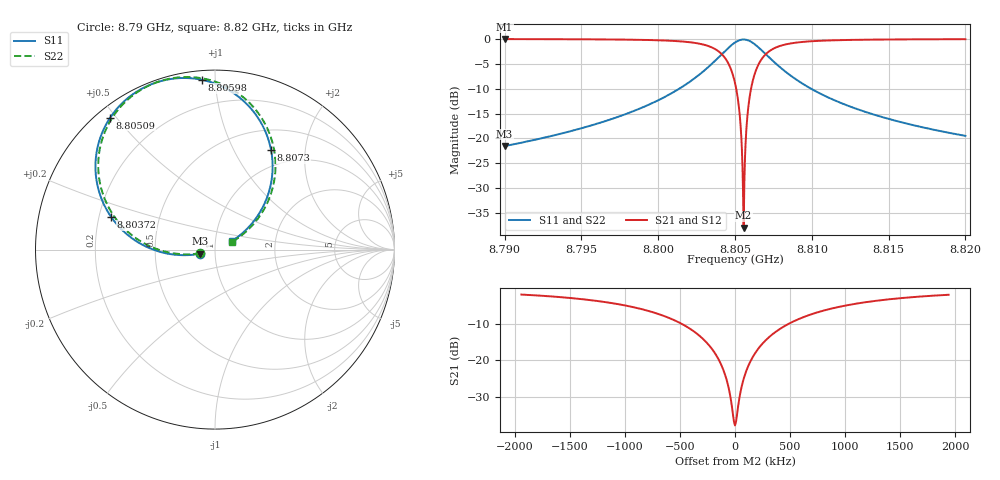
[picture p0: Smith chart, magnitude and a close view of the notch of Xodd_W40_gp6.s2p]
! Sonnet Data File
! From: emgraph Version : 16.52
! From Project: Qubit_Xmon2
! Data is De-embedded
! Data File Written: 10/18/2017 14:46:52
!< HDATE 10/18/2017 13:36:36
!< MDATE 10/18/2017 13:36:36
!< PARAMS
!< Lj = 11.0
!< Gap = 6.0
!< Pwid = 2000.0
!< Airgap = 24.0
!< Width = 40.0
!< END PARAMS
# GHZ S MA R 43.40000
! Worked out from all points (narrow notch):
!   3001 points, 8.79 GHz to 8.82 GHz, reference 43.4 ohm
!   highest |S21| = -0.03 dB at 8.79 GHz (marker M1); lowest = -37.9 dB at 8.80556 GHz (marker M2)
!   notch at M2: 37.8 dB deep, 324 kHz wide at half that depth
!   lowest |S11| = -21.5 dB at 8.79 GHz (marker M3), VSWR 1.18, Z = 36.9 - j1.66 ohm
!   |S11| at or under -10 dB: start of sweep to 8.80137 GHz; 8.809951 GHz to end of sweep
!   |S22| runs from -21.5 to -0.1 dB; largest |S21 - S12| = 0
!   S11 on the Smith chart (normalised r, x): 8.79 GHz: 0.85, -0.04; 8.80372 GHz: 0.25, +0.14; 8.80509 GHz: 0.04, +0.48; 8.80598 GHz: 0.05, +0.93; 8.8073 GHz: 0.77, +1.42; 8.82 GHz: 1.20, +0.12
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8.79  0.08385 -164.5  0.9964 -75.2  0.9964 -75.2  0.08385 -166.0
!< P1 F=8.79 Eeff=(4.81771806 -6.2668e-5) Z0=(43.3161425 -1.8142e-4) R=0.0 C=0.0
!< P2 F=8.79 Eeff=(4.81771806 -6.2668e-5) Z0=(43.3161425 -1.8142e-4) R=0.0 C=0.0
8.795  0.1267 -167.0  0.9917 -77.7  0.9917 -77.7  0.1267 -168.6
8.8  0.242 -173.8  0.9694 -84.5  0.9694 -84.5  0.242 -175.5
8.80239  0.4047 176.2  0.9121 -94.3  0.9121 -94.3  0.4047 174.4
8.80372  0.6072 162.5  0.7885 -107.9  0.7885 -107.9  0.6071 160.6
8.8045  0.7953 146.8  0.5925 -123.2  0.5925 -123.2  0.7953 144.9
8.805  0.9205 131.6  0.3615 -137.4  0.3615 -137.4  0.9205 129.7
8.80509  0.9389 128.5  0.3093 -140.2  0.3093 -140.2  0.9389 126.6
8.80529  0.9705 121.0  0.1838 -146.0  0.1838 -146.0  0.9705 119.1
8.80536  0.978 118.3  0.1374 -147.4  0.1374 -147.4  0.978 116.4
8.80546  0.9849 114.4  0.07004 -146.1  0.07004 -146.1  0.9849 112.5
8.80556  0.9873 110.5  0.01272 -70.6  0.01272 -70.6  0.9873 108.5
8.80565  0.9854 106.9  0.06318 4.4  0.06318 4.4  0.9854 105.0
8.8058  0.9741 101.1  0.1636 5.7  0.1636 5.7  0.9741 99.1
8.80598  0.9485 94.3  0.2779 0.9  0.2779 0.9  0.9485 92.4
8.8062  0.9038 86.7  0.4028 -5.9  0.4028 -5.9  0.9038 84.8
8.80648  0.8349 78.2  0.534 -13.9  0.534 -13.9  0.8349 76.2
8.8073  0.6356 60.5  0.7654 -31.1  0.7654 -31.1  0.6356 58.6
8.80844  0.4495 47.6  0.8904 -43.8  0.8904 -43.8  0.4495 45.5
8.81  0.3131 39.0  0.9484 -52.3  0.9484 -52.3  0.3131 36.9
8.815  0.1574 29.7  0.9872 -61.5  0.9872 -61.5  0.1574 27.5
8.82  0.1063 26.7  0.9942 -64.5  0.9942 -64.5  0.1063 24.4
